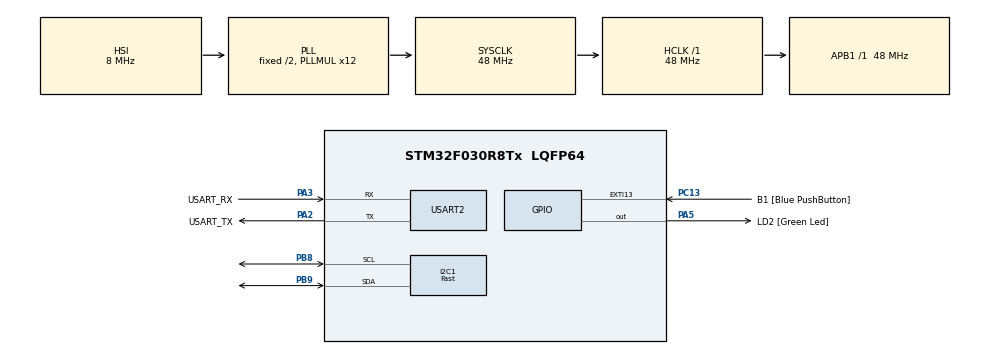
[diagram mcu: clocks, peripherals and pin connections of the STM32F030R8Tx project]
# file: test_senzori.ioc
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I2C1.I2C_Speed_Mode=I2C_Fast
I2C1.Timing=0x0010020A
Mcu.Family=STM32F0
Mcu.Name=STM32F030R8Tx
Mcu.Package=LQFP64
PA13.GPIO_Label=TMS
PA13.Mode=Serial_Wire
PA13.Signal=SYS_SWDIO
PA14.GPIO_Label=TCK
PA14.Mode=Serial_Wire
PA14.Signal=SYS_SWCLK
PA2.GPIO_Label=USART_TX
PA2.GPIO_Mode=GPIO_MODE_AF_PP
PA2.GPIO_PuPd=GPIO_NOPULL
PA2.GPIO_Speed=GPIO_SPEED_FREQ_LOW
PA2.Mode=Asynchronous
PA2.Signal=USART2_TX
PA3.GPIO_Label=USART_RX
PA3.GPIO_Mode=GPIO_MODE_AF_PP
PA3.GPIO_PuPd=GPIO_NOPULL
PA3.GPIO_Speed=GPIO_SPEED_FREQ_LOW
PA3.Mode=Asynchronous
PA3.Signal=USART2_RX
PA5.GPIO_Label=LD2 [Green Led]
PA5.GPIO_Mode=GPIO_MODE_OUTPUT_PP
PA5.GPIO_PuPd=GPIO_NOPULL
PA5.GPIO_Speed=GPIO_SPEED_FREQ_LOW
PA5.Signal=GPIO_Output
PB8.Mode=I2C
PB8.Signal=I2C1_SCL
PB9.Mode=I2C
PB9.Signal=I2C1_SDA
PC13.GPIO_Label=B1 [Blue PushButton]
PC13.GPIO_ModeDefaultEXTI=GPIO_MODE_IT_FALLING
PC13.Signal=GPXTI13
PC14-OSC32_IN.Mode=LSE-External-Oscillator
PC14-OSC32_IN.Signal=RCC_OSC32_IN
PC15-OSC32_OUT.Mode=LSE-External-Oscillator
PC15-OSC32_OUT.Signal=RCC_OSC32_OUT
PF0-OSC_IN.Mode=HSE-External-Clock-Source
PF0-OSC_IN.Signal=RCC_OSC_IN
PF1-OSC_OUT.Signal=RCC_OSC_OUT
ProjectManager.HeapSize=0x200
ProjectManager.StackSize=0x400
ProjectManager.TargetToolchain=CMake
RCC.AHBFreq_Value=48000000
RCC.APB1Freq_Value=48000000
RCC.APB1TimFreq_Value=48000000
RCC.HCLKFreq_Value=48000000
RCC.PLLMUL=RCC_PLL_MUL12
RCC.SYSCLKFreq_VALUE=48000000
RCC.SYSCLKSource=RCC_SYSCLKSOURCE_PLLCLK
USART2.VirtualMode-Asynchronous=VM_ASYNC
board=NUCLEO-F030R8

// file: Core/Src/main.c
/* USER CODE BEGIN Header */
/**
  ******************************************************************************
  * @file           : main.c
  * @brief          : Main program body
  ******************************************************************************
  * @attention
  *
  * Copyright (c) 2026 STMicroelectronics.
  * All rights reserved.
  *
  * This software is licensed under terms that can be found in the LICENSE file
  * in the root directory of this software component.
  * If no LICENSE file comes with this software, it is provided AS-IS.
  *
  ******************************************************************************
  */
/* USER CODE END Header */
#include "main.h"

/* USER CODE BEGIN Includes */
#include <stdint.h>
#include <stdio.h>
#include "VL53L1X_api.h"
/* USER CODE END Includes */

/* USER CODE BEGIN PD */

// ADRESELE I2C ALE SENZORILOR VL53L1X
#define ADDR_SHIELD 0x56   // senzor centru
#define ADDR_L      0x54   // senzor stanga
#define ADDR_R      0x58   // senzor dreapta
// ADRESELE EXPANDERELOR/ SHIELD
#define EXP_LR      0x86   // expander U21: stanga + dreapta
#define EXP_C       0x84   // expander U19: centru
#define EXP_GPSR    0x12
#define EXP_GPDR    0x14
// PINII XSHUT DE PE EXPANDERE
#define XSHUT_L     (1u << 14)   // pe EXP_LR
#define XSHUT_R     (1u << 15)   // pe EXP_LR
#define XSHUT_C     (1u << 15)   // pe EXP_C

/* USER CODE END PD */

I2C_HandleTypeDef hi2c1;

UART_HandleTypeDef huart2;

void SystemClock_Config(void);
static void MX_GPIO_Init(void);
static void MX_I2C1_Init(void);
static void MX_USART2_UART_Init(void);

/* USER CODE BEGIN 0 */

// FUNCTIE AJUTATOARE PENTRU SETAREA/RESETAREA BITILOR DIN REGISTRUL "reg" DE PE EXPANDERUL "exp"
static void exp_bits(uint8_t exp, uint8_t reg, uint16_t mask, uint8_t set)
{
    uint8_t b[2]; // BUFFER PENTRU CITIREA SI SCRIEREA PE I2C
    HAL_I2C_Mem_Read(&hi2c1, exp, reg, I2C_MEMADD_SIZE_8BIT, b, 2, 100);
    // ^ CITIREA A 2 BYTES DIN REGISTRUL "reg" DE PE EXPANDERUL "exp"
    uint16_t v = b[0] | (b[1] << 8);
    // ^ COMBINAREA CELOR 2 BYTES INTR-UN SINGUR VALOARE DE 16 BITS
    if (set) v |= mask; else v &= ~mask; // SETAREA SAU RESETAREA BITILOR DIN "mask" IN FUNCTIE DE "set"
    b[0] = v & 0xFF;
    b[1] = v >> 8;
    // ^ IMPARTIREA VALORII DE 16 BITS INAPOI IN 2 BYTES PENTRU SCRIEREA IN REGISTRUL "reg"
    HAL_I2C_Mem_Write(&hi2c1, exp, reg, I2C_MEMADD_SIZE_8BIT, b, 2, 100);
    // ^ SCRIERE EFECTIVA A CELOR 2 BYTES PE REGISTRUL "reg" DE PE EXPANDERUL "exp"
}

// ENUMERARE A TIPURILOR DE GEST
typedef enum { G_NONE, G_NEXT, G_PREV} gesture_t;

// CONSTANTE PENTRU DETECTAREA GESTURILOR
#define GEST_MS 800
#define DIST_TH 700
#define LOST_MS 500
#define COOLDOWN_MS 700 // PAUZA DUPA GEST
#define SWIPE_MIN_MS 60   // sub această durată e apropiere, nu swipe

// variabila globala pentru a bloca detectarea gesturilor in timpul unui zoom
static uint32_t block_until = 0;

// FUNCTIE AJUTATOARE PENTRU DETECTAREA GESTURILOR
static gesture_t detect_gesture(const uint16_t distances[3], uint32_t now){
  static uint32_t t[3] = {0, 0, 0}; // TIMPURILE PENTRU FIECARE SENZOR (STANGA, CENTRU, DREAPTA)
  static uint32_t last_seen = 0; // ULTIMA DATA CAND A FOST VAZUT UN OBIECT
  static uint8_t wait_release = 0;

  if (now < block_until) return G_NONE; // DACA SUNTEM IN COOLDOWN, NU DETECTAM GESTURI

  uint8_t any = 0;
  for (int k = 0; k < 3; k++){
    if (distances[k] > 0 && distances[k] < DIST_TH){ // VERIFICARE DISTANTA < THRESHOLD
      any = 1;
      last_seen = now;
      if (!wait_release && t[k] == 0) t[k] = now; // DACA NU A FOST ELIBERAT, NU RESETEAZA TIMPUL
    }
  }

  if (wait_release){
    if (!any && now - last_seen > 150) wait_release = 0;
    return G_NONE;
  }

  gesture_t gesture = G_NONE;
  if (t[0] && t[1] && t[2]){
    if (t[0] < t[1] && t[1] < t[2]){
      uint32_t span = t[2] - t[0];
      if (span >= SWIPE_MIN_MS && span < GEST_MS) gesture = G_NEXT;
    }
    else if (t[2] < t[1] && t[1] < t[0]){
      uint32_t span = t[0] - t[2];
      if (span >= SWIPE_MIN_MS && span < GEST_MS) gesture = G_PREV;
    }
    t[0] = t[1] = t[2] = 0;
    if (gesture != G_NONE) block_until = now + COOLDOWN_MS;
    else wait_release = 1;
  }
  else if (last_seen && now - last_seen > LOST_MS){
    t[0] = t[1] = t[2] = 0;
    last_seen = 0;
  }
  return gesture;
}

#define ZOOM_DELTA 80 //

typedef enum { ZOOM_NONE, ZOOM_IN, ZOOM_OUT } zoom_t;

// FUNCTIE ZOOM IN/ ZOOM OUT PENTRU AFISAREA IN UART
static zoom_t detect_zoom(const uint16_t distances[3], uint32_t now){
  static uint16_t last_distances[3] = {0, 0, 0};
  static uint16_t start_c = 0;
  static uint8_t active = 0;
  static uint32_t zoom_block = 0;

  for (int k=0; k<3; k++){
    if (distances[k]) last_distances[k] = distances[k];
  }
  if (now < zoom_block || now < block_until){
    active = 0;                 // ca să reînceapă curat după pauză
    return ZOOM_NONE;
  }

  uint8_t all = 1;
  for (int k=0; k<3; k++){
    if (last_distances[k] == 0 || last_distances[k] >= DIST_TH) all = 0;
  }

  if(!all){
    active = 0;
    start_c = 0;
    return ZOOM_NONE;
  }
  if(!active){
    active = 1;
    start_c = last_distances[1];
    return ZOOM_NONE;
  }

  int diff = (int)last_distances[1] - (int)start_c;
  if (diff <= -ZOOM_DELTA) { active = 0; zoom_block = now + COOLDOWN_MS; return ZOOM_IN; }
  if (diff >=  ZOOM_DELTA) { active = 0; zoom_block = now + COOLDOWN_MS; return ZOOM_OUT; }
  return ZOOM_NONE;
}

/* USER CODE END 0 */

int main(void)
{

  /* MCU Configuration--------------------------------------------------------*/

  /* Reset of all peripherals, Initializes the Flash interface and the Systick. */
  HAL_Init();

  /* Configure the system clock */
  SystemClock_Config();

  /* Initialize all configured peripherals */
  MX_GPIO_Init();
  MX_I2C1_Init();
  MX_USART2_UART_Init();
  /* USER CODE BEGIN 2 */

  // VARIABILE PENTRU AFISAREA IN UART
  char msg[64]; // BUFFER PENTRU MESAJELE DE DEBUG
  int n; // NUMARUL DE CARACTERE DIN MESAJELE DE DEBUG
  uint8_t booted; // VARIABILA PENTRU VERIFICAREA STARI DE BOOT A SENZORILOR

  // 1. TREZESTE TOTI SENZORII (XSHUT=1) SI ASTEPTA 10 ms
  exp_bits(EXP_LR, EXP_GPDR, XSHUT_L | XSHUT_R, 1);
  exp_bits(EXP_C,  EXP_GPDR, XSHUT_C, 1);
  exp_bits(EXP_LR, EXP_GPSR, XSHUT_L | XSHUT_R, 0);
  exp_bits(EXP_C,  EXP_GPSR, XSHUT_C, 0);
  HAL_Delay(10);

  // 2. CENTRU: TREZESTE, SCHIMBA ADRESA I2C
  exp_bits(EXP_C, EXP_GPSR, XSHUT_C, 1);
  HAL_Delay(10);
  VL53L1X_SetI2CAddress(0x52, ADDR_SHIELD);

  // 3. STANGA: TREZESTE, SCHIMBA ADRESA I2C
  exp_bits(EXP_LR, EXP_GPSR, XSHUT_L, 1);
  HAL_Delay(10);
  VL53L1X_SetI2CAddress(0x52, ADDR_L);

  // 4. DREAPTA: TREZESTE, SCHIMBA ADRESA I2C
  exp_bits(EXP_LR, EXP_GPSR, XSHUT_R, 1);
  HAL_Delay(10);
  VL53L1X_SetI2CAddress(0x52, ADDR_R);

  // 5. initializeaza toti trei
  uint8_t addrs[3] = {ADDR_SHIELD, ADDR_L, ADDR_R};
  for (int k = 0; k < 3; k++) {
      booted = 0;
      for (int i = 0; i < 100 && !booted; i++) {
          VL53L1X_BootState(addrs[k], &booted);
          HAL_Delay(2);
      }
      if (booted) {
          VL53L1X_SensorInit(addrs[k]); // INITIALIZARE SENZOR
          VL53L1X_SetDistanceMode(addrs[k], 1); // MOD DE DISTANTA 1 ~1-2 m
          VL53L1X_SetTimingBudgetInMs(addrs[k], 20); // 20 ms PETRECUTE PER MASURATOARE
          VL53L1X_SetInterMeasurementInMs(addrs[k], 25); // MASURATOARE ODATA LA 25 ms
          VL53L1X_StartRanging(addrs[k]); // PORNIRE MASURATORI
      }
      n = snprintf(msg, sizeof(msg), "Senzor 0x%02X: %s\r\n", addrs[k], booted ? "OK" : "nu a pornit");
      HAL_UART_Transmit(&huart2, (uint8_t*)msg, n, 100);
  }

  /* USER CODE END 2 */

  /* Infinite loop */
  while (1)
  {
    /* USER CODE BEGIN 3 */
    uint16_t distance[3] = {0, 0, 0}; // MATRICEA DE DISTANTA
    uint8_t addrs3[3] = {ADDR_L, ADDR_SHIELD, ADDR_R}; // ADRESE IN ORDINE STANGA, CENTRU, DREAPTA
    uint8_t ready; // VARIABILA PENTRU VERIFICAREA STARI
    char out[64];

    for (int k = 0; k < 3; k++) {
        ready = 0;
        if (VL53L1X_CheckForDataReady(addrs3[k], &ready) == 0 && ready) { // VERIFICA DACA DATELE SUNT GATA
            VL53L1X_GetDistance(addrs3[k], &distance[k]); // IA DISTANTA
            VL53L1X_ClearInterrupt(addrs3[k]); // CURATA INTERRUPTUL PENTRU A PERMITE URMATOAREA MASURARE
        }
    }
    gesture_t gesture = detect_gesture(distance, HAL_GetTick());
    if (gesture == G_NEXT) HAL_UART_Transmit(&huart2, (uint8_t*)"NEXT\r\n", 6, 100);
    if (gesture == G_PREV) HAL_UART_Transmit(&huart2, (uint8_t*)"PREV\r\n", 6, 100);
    if (gesture == G_NONE) {
        zoom_t z = detect_zoom(distance, HAL_GetTick());
        if (z == ZOOM_IN)  HAL_UART_Transmit(&huart2, (uint8_t*)"ZOOM_IN\r\n", 9, 100);
        if (z == ZOOM_OUT) HAL_UART_Transmit(&huart2, (uint8_t*)"ZOOM_OUT\r\n", 10, 100);
    }
    HAL_Delay(5);

    // DEBUG: AFISEAZA DISTANTELE IN UART DACA ORICARE DINTRE ELE ESTE MAI MIC DE DIST_TH
    // if ((distance[0] && distance[0] < DIST_TH) ||
    //     (distance[1] && distance[1] < DIST_TH) ||
    //     (distance[2] && distance[2] < DIST_TH)) {
    //     int m = snprintf(out, sizeof(out), "L:%u C:%u R:%u\r\n", distance[0], distance[1], distance[2]);
    //     HAL_UART_Transmit(&huart2, (uint8_t*)out, m, 100);
    // }
  }
  /* USER CODE END 3 */
}

void SystemClock_Config(void)
{
  RCC_OscInitTypeDef RCC_OscInitStruct = {0};
  RCC_ClkInitTypeDef RCC_ClkInitStruct = {0};
  RCC_PeriphCLKInitTypeDef PeriphClkInit = {0};

  /** Initializes the RCC Oscillators according to the specified parameters
  * in the RCC_OscInitTypeDef structure.
  */
  RCC_OscInitStruct.OscillatorType = RCC_OSCILLATORTYPE_HSI;
  RCC_OscInitStruct.HSIState = RCC_HSI_ON;
  RCC_OscInitStruct.HSICalibrationValue = RCC_HSICALIBRATION_DEFAULT;
  RCC_OscInitStruct.PLL.PLLState = RCC_PLL_ON;
  RCC_OscInitStruct.PLL.PLLSource = RCC_PLLSOURCE_HSI;
  RCC_OscInitStruct.PLL.PLLMUL = RCC_PLL_MUL12;
  RCC_OscInitStruct.PLL.PREDIV = RCC_PREDIV_DIV1;
  if (HAL_RCC_OscConfig(&RCC_OscInitStruct) != HAL_OK)
  {
    Error_Handler();
  }

  /** Initializes the CPU, AHB and APB buses clocks
  */
  RCC_ClkInitStruct.ClockType = RCC_CLOCKTYPE_HCLK|RCC_CLOCKTYPE_SYSCLK
                              |RCC_CLOCKTYPE_PCLK1;
  RCC_ClkInitStruct.SYSCLKSource = RCC_SYSCLKSOURCE_PLLCLK;
  RCC_ClkInitStruct.AHBCLKDivider = RCC_SYSCLK_DIV1;
  RCC_ClkInitStruct.APB1CLKDivider = RCC_HCLK_DIV1;

  if (HAL_RCC_ClockConfig(&RCC_ClkInitStruct, FLASH_LATENCY_1) != HAL_OK)
  {
    Error_Handler();
  }
  PeriphClkInit.PeriphClockSelection = RCC_PERIPHCLK_I2C1;
  PeriphClkInit.I2c1ClockSelection = RCC_I2C1CLKSOURCE_HSI;
  if (HAL_RCCEx_PeriphCLKConfig(&PeriphClkInit) != HAL_OK)
  {
    Error_Handler();
  }
}

static void MX_I2C1_Init(void)
{

  hi2c1.Instance = I2C1;
  hi2c1.Init.Timing = 0x0010020A;
  hi2c1.Init.OwnAddress1 = 0;
  hi2c1.Init.AddressingMode = I2C_ADDRESSINGMODE_7BIT;
  hi2c1.Init.DualAddressMode = I2C_DUALADDRESS_DISABLE;
  hi2c1.Init.OwnAddress2 = 0;
  hi2c1.Init.OwnAddress2Masks = I2C_OA2_NOMASK;
  hi2c1.Init.GeneralCallMode = I2C_GENERALCALL_DISABLE;
  hi2c1.Init.NoStretchMode = I2C_NOSTRETCH_DISABLE;
  if (HAL_I2C_Init(&hi2c1) != HAL_OK)
  {
    Error_Handler();
  }

  /** Configure Analogue filter
  */
  if (HAL_I2CEx_ConfigAnalogFilter(&hi2c1, I2C_ANALOGFILTER_ENABLE) != HAL_OK)
  {
    Error_Handler();
  }

  /** Configure Digital filter
  */
  if (HAL_I2CEx_ConfigDigitalFilter(&hi2c1, 0) != HAL_OK)
  {
    Error_Handler();
  }

}

static void MX_USART2_UART_Init(void)
{

  huart2.Instance = USART2;
  huart2.Init.BaudRate = 38400;
  huart2.Init.WordLength = UART_WORDLENGTH_8B;
  huart2.Init.StopBits = UART_STOPBITS_1;
  huart2.Init.Parity = UART_PARITY_NONE;
  huart2.Init.Mode = UART_MODE_TX_RX;
  huart2.Init.HwFlowCtl = UART_HWCONTROL_NONE;
  huart2.Init.OverSampling = UART_OVERSAMPLING_16;
  huart2.Init.OneBitSampling = UART_ONE_BIT_SAMPLE_DISABLE;
  huart2.AdvancedInit.AdvFeatureInit = UART_ADVFEATURE_NO_INIT;
  if (HAL_UART_Init(&huart2) != HAL_OK)
  {
    Error_Handler();
  }

}

static void MX_GPIO_Init(void)
{
  GPIO_InitTypeDef GPIO_InitStruct = {0};

  /* GPIO Ports Clock Enable */
  __HAL_RCC_GPIOC_CLK_ENABLE();
  __HAL_RCC_GPIOF_CLK_ENABLE();
  __HAL_RCC_GPIOA_CLK_ENABLE();
  __HAL_RCC_GPIOB_CLK_ENABLE();

  /*Configure GPIO pin Output Level */
  HAL_GPIO_WritePin(LD2_GPIO_Port, LD2_Pin, GPIO_PIN_RESET);

  /*Configure GPIO pin : B1_Pin */
  GPIO_InitStruct.Pin = B1_Pin;
  GPIO_InitStruct.Mode = GPIO_MODE_IT_FALLING;
  GPIO_InitStruct.Pull = GPIO_NOPULL;
  HAL_GPIO_Init(B1_GPIO_Port, &GPIO_InitStruct);

  /*Configure GPIO pin : LD2_Pin */
  GPIO_InitStruct.Pin = LD2_Pin;
  GPIO_InitStruct.Mode = GPIO_MODE_OUTPUT_PP;
  GPIO_InitStruct.Pull = GPIO_NOPULL;
  GPIO_InitStruct.Speed = GPIO_SPEED_FREQ_LOW;
  HAL_GPIO_Init(LD2_GPIO_Port, &GPIO_InitStruct);

}

void Error_Handler(void)
{
  __disable_irq();
  while (1)
  {
  }
}
